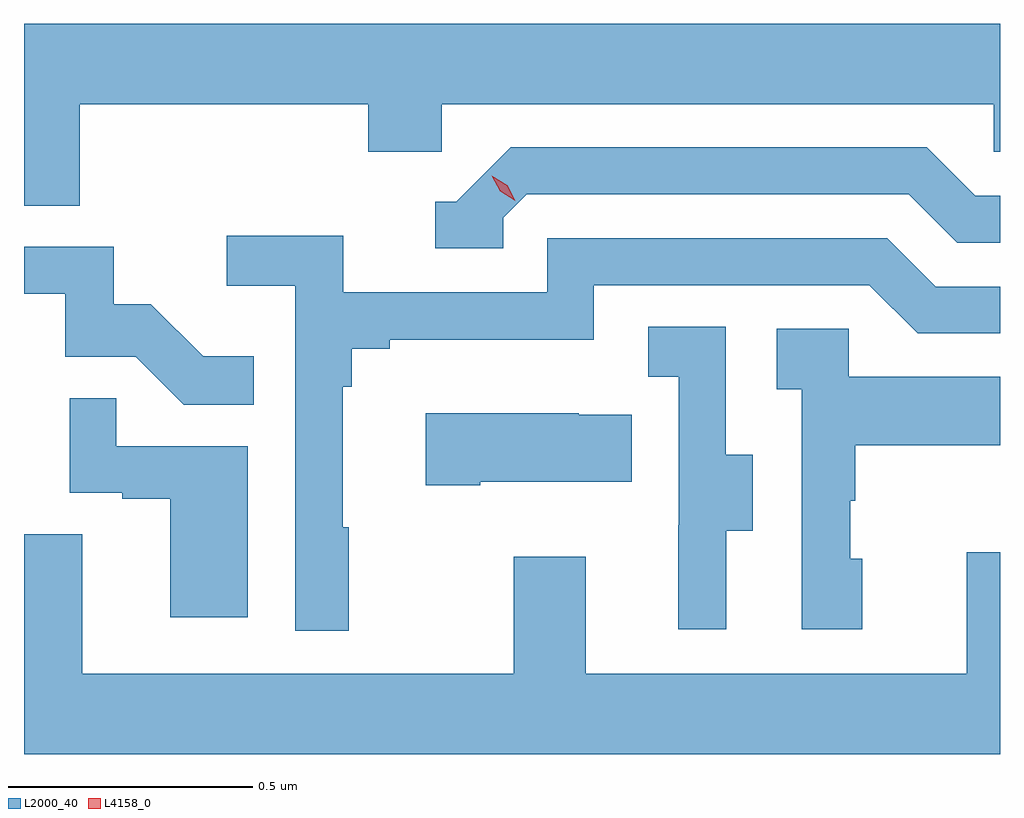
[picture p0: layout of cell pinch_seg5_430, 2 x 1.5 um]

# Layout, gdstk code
import gdstk
lib = gdstk.Library(unit=1e-6, precision=1e-09)
def P(c, l, *ps):  # polygons
    for p in ps: c.add(gdstk.Polygon(p, *l))
L2000_40 = (2000, 40)
L4158_0 = (4158, 0)

pinch_seg5_430 = lib.new_cell('pinch_seg5_430')
P(pinch_seg5_430, L2000_40, [(957.032,860.756),(957.623,860.756),(957.623,860.658),(957.774,860.658),(957.774,860.756),(958.905,860.756),(958.905,860.658),(958.918,860.658),(958.918,860.92),(956.918,860.92),(956.918,860.548),(957.032,860.548)],
  [(957.9,860.523),(957.948,860.571),(958.731,860.571),(958.83,860.472),(958.918,860.472),(958.918,860.568),(958.867,860.568),(958.768,860.667),(957.915,860.667),(957.804,860.556),(957.761,860.556),(957.761,860.46),(957.9,860.46)],
  [(957.583,859.889),(957.571,859.889),(957.571,860.177),(957.59,860.177),(957.59,860.254),(957.667,860.254),(957.667,860.273),(958.086,860.273),(958.086,860.385),(958.65,860.385),(958.749,860.286),(958.918,860.286),(958.918,860.382),(958.786,860.382),(958.687,860.481),(957.99,860.481),(957.99,860.37),(957.572,860.37),(957.572,860.486),(957.333,860.486),(957.333,860.384),(957.474,860.384),(957.474,859.677),(957.583,859.677)],
  [(957.389,860.239),(957.285,860.239),(957.178,860.346),(957.102,860.346),(957.102,860.463),(956.918,860.463),(956.918,860.367),(957.003,860.367),(957.003,860.238),(957.147,860.238),(957.245,860.14),(957.389,860.14)],
  [(958.357,859.882),(958.411,859.882),(958.411,860.037),(958.356,860.037),(958.356,860.3),(958.197,860.3),(958.197,860.197),(958.26,860.197),(958.26,859.893),(958.259,859.893),(958.259,859.68),(958.357,859.68)],
  [(958.636,859.824),(958.611,859.824),(958.611,859.943),(958.621,859.943),(958.621,860.057),(958.918,860.057),(958.918,860.197),(958.608,860.197),(958.608,860.295),(958.461,860.295),(958.461,860.171),(958.512,860.171),(958.512,859.68),(958.636,859.68)],
  [(957.376,860.055),(957.107,860.055),(957.107,860.153),(957.012,860.153),(957.012,859.959),(957.119,859.959),(957.119,859.947),(957.218,859.947),(957.218,859.704),(957.376,859.704)],
  [(957.853,859.982),(958.163,859.982),(958.163,860.119),(958.055,860.119),(958.055,860.122),(957.741,860.122),(957.741,859.975),(957.853,859.975)],
  [(958.918,859.837),(958.85,859.837),(958.85,859.588),(958.069,859.588),(958.069,859.828),(957.922,859.828),(957.922,859.588),(957.037,859.588),(957.037,859.874),(956.918,859.874),(956.918,859.424),(958.918,859.424)])
P(pinch_seg5_430, L4158_0, [(957.925,860.558),(957.894,860.577),(957.877,860.609),(957.877,860.609),(957.877,860.609),(957.908,860.59),(957.925,860.558),(957.925,860.558)])

lib.write_gds('pinch_seg5_430.gds')
